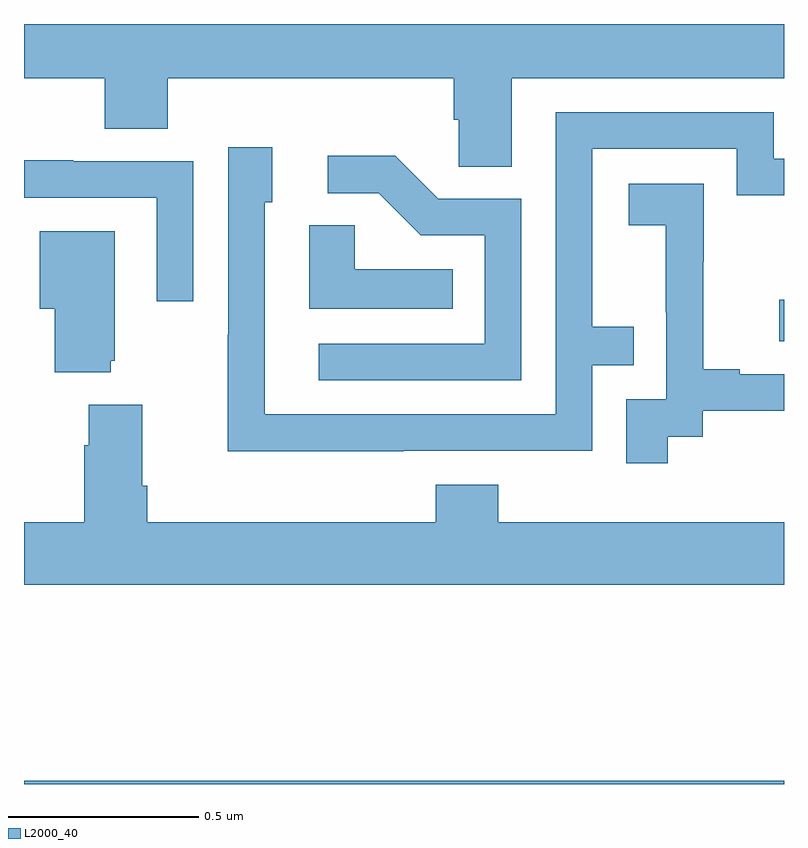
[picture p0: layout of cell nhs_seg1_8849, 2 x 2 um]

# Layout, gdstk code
import gdstk
lib = gdstk.Library(unit=1e-6, precision=1e-09)
def R(c, l, rs):  # rectangles x0, y0, x1, y1
    for r in rs: c.add(gdstk.rectangle(r[:2], r[2:], *l))
def P(c, l, *ps):  # polygons
    for p in ps: c.add(gdstk.Polygon(p, *l))
L2000_40 = (2000, 40)

nhs_seg1_8849 = lib.new_cell('nhs_seg1_8849')
R(nhs_seg1_8849, L2000_40, [(221,559.199,223,559.208), (222.987,560.364,223,560.473)])
P(nhs_seg1_8849, L2000_40, [(222.283,561.056),(223,561.056),(223,561.199),(221,561.199),(221,561.056),(221.213,561.056),(221.213,560.923),(221.378,560.923),(221.378,561.056),(222.131,561.056),(222.131,560.947),(222.144,560.947),(222.144,560.824),(222.283,560.824)],
  [(221.999,560.076),(222.495,560.076),(222.495,560.301),(222.605,560.301),(222.605,560.402),(222.495,560.402),(222.495,560.871),(222.876,560.871),(222.876,560.748),(223,560.748),(223,560.844),(222.973,560.844),(222.973,560.967),(222.399,560.967),(222.399,560.172),(221.634,560.172),(221.634,560.73),(221.653,560.73),(221.653,560.875),(221.538,560.875),(221.538,560.381),(221.536,560.381),(221.536,560.075),(221.999,560.075)],
  [(222.309,560.739),(222.09,560.739),(221.977,560.852),(221.799,560.852),(221.799,560.754),(221.933,560.754),(222.044,560.643),(222.213,560.643),(222.213,560.358),(221.775,560.358),(221.775,560.262),(222.309,560.262)],
  [(221.445,560.838),(221.129,560.838),(221.129,560.84),(221,560.84),(221,560.742),(221.349,560.742),(221.349,560.469),(221.445,560.469)],
  [(222.694,560.113),(222.786,560.113),(222.786,560.181),(223,560.181),(223,560.277),(222.883,560.277),(222.883,560.29),(222.788,560.29),(222.788,560.573),(222.789,560.573),(222.789,560.779),(222.591,560.779),(222.591,560.669),(222.689,560.669),(222.689,560.441),(222.69,560.441),(222.69,560.211),(222.585,560.211),(222.585,560.043),(222.694,560.043)],
  [(222.128,560.554),(221.871,560.554),(221.871,560.669),(221.75,560.669),(221.75,560.45),(222.128,560.45)],
  [(221.228,560.313),(221.239,560.313),(221.239,560.653),(221.042,560.653),(221.042,560.45),(221.081,560.45),(221.081,560.282),(221.228,560.282)],
  [(223,559.888),(222.248,559.888),(222.248,559.987),(222.083,559.987),(222.083,559.888),(221.324,559.888),(221.324,559.984),(221.311,559.984),(221.311,560.197),(221.171,560.197),(221.171,560.09),(221.159,560.09),(221.159,559.888),(221,559.888),(221,559.724),(223,559.724)])

lib.write_gds('nhs_seg1_8849.gds')
